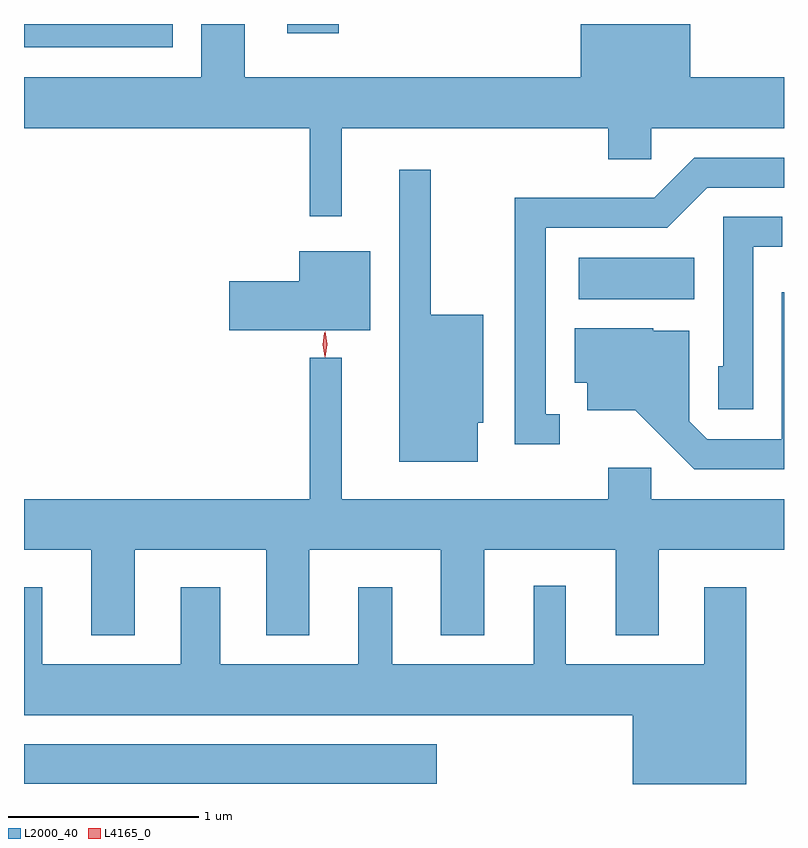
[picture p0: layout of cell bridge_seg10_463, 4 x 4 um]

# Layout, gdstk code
import gdstk
lib = gdstk.Library(unit=1e-6, precision=1e-09)
def R(c, l, rs):  # rectangles x0, y0, x1, y1
    for r in rs: c.add(gdstk.rectangle(r[:2], r[2:], *l))
def P(c, l, *ps):  # polygons
    for p in ps: c.add(gdstk.Polygon(p, *l))
L2000_40 = (2000, 40)
L4165_0 = (4165, 0)

bridge_seg10_463 = lib.new_cell('bridge_seg10_463')
R(bridge_seg10_463, L2000_40, [(1038.207,2157.086,1040.379,2157.294), (1041.126,2159.636,1041.734,2159.854), (1038.207,2160.961,1038.989,2161.084), (1039.593,2161.036,1039.864,2161.084)])
P(bridge_seg10_463, L2000_40, [(1039.879,2160.536),(1041.281,2160.536),(1041.281,2160.371),(1041.509,2160.371),(1041.509,2160.536),(1042.207,2160.536),(1042.207,2160.804),(1041.714,2160.804),(1041.714,2161.084),(1041.136,2161.084),(1041.136,2160.804),(1039.369,2160.804),(1039.369,2161.084),(1039.141,2161.084),(1039.141,2160.804),(1038.207,2160.804),(1038.207,2160.536),(1039.711,2160.536),(1039.711,2160.073),(1039.879,2160.073)],
  [(1041.027,2159.029),(1040.954,2159.029),(1040.954,2160.011),(1041.592,2160.011),(1041.802,2160.221),(1042.207,2160.221),(1042.207,2160.379),(1041.734,2160.379),(1041.524,2160.169),(1040.791,2160.169),(1040.791,2158.871),(1041.027,2158.871)],
  [(1040.594,2158.986),(1040.624,2158.986),(1040.624,2159.554),(1040.349,2159.554),(1040.349,2160.318),(1040.181,2160.318),(1040.181,2158.781),(1040.594,2158.781)],
  [(1042.044,2159.911),(1042.198,2159.911),(1042.198,2160.069),(1041.886,2160.069),(1041.886,2159.284),(1041.861,2159.284),(1041.861,2159.056),(1042.044,2159.056)],
  [(1040.029,2159.889),(1039.656,2159.889),(1039.656,2159.729),(1039.286,2159.729),(1039.286,2159.471),(1040.029,2159.471)],
  [(1042.207,2159.673),(1042.196,2159.673),(1042.196,2158.899),(1041.802,2158.899),(1041.709,2158.992),(1041.709,2159.469),(1041.52,2159.469),(1041.52,2159.484),(1041.106,2159.484),(1041.106,2159.196),(1041.171,2159.196),(1041.171,2159.051),(1041.424,2159.051),(1041.734,2158.741),(1042.207,2158.741)],
  [(1038.789,2158.316),(1039.481,2158.316),(1039.481,2157.866),(1039.709,2157.866),(1039.709,2158.316),(1040.401,2158.316),(1040.401,2157.866),(1040.629,2157.866),(1040.629,2158.316),(1041.321,2158.316),(1041.321,2157.866),(1041.549,2157.866),(1041.549,2158.316),(1042.207,2158.316),(1042.207,2158.584),(1041.509,2158.584),(1041.509,2158.749),(1041.281,2158.749),(1041.281,2158.584),(1039.879,2158.584),(1039.879,2159.328),(1039.711,2159.328),(1039.711,2158.584),(1038.207,2158.584),(1038.207,2158.316),(1038.561,2158.316),(1038.561,2157.866),(1038.789,2157.866)],
  [(1042.009,2158.119),(1041.786,2158.119),(1041.786,2157.714),(1041.059,2157.714),(1041.059,2158.128),(1040.891,2158.128),(1040.891,2157.714),(1040.144,2157.714),(1040.144,2158.119),(1039.966,2158.119),(1039.966,2157.714),(1039.239,2157.714),(1039.239,2158.119),(1039.031,2158.119),(1039.031,2157.714),(1038.304,2157.714),(1038.304,2158.119),(1038.207,2158.119),(1038.207,2157.446),(1041.411,2157.446),(1041.411,2157.084),(1042.009,2157.084)])
P(bridge_seg10_463, L4165_0, [(1039.792,2159.33),(1039.792,2159.33),(1039.782,2159.398),(1039.792,2159.466),(1039.792,2159.466),(1039.793,2159.466),(1039.802,2159.398),(1039.793,2159.33)],
  [(1039.789,2159.333),(1039.789,2159.334),(1039.779,2159.396),(1039.788,2159.459),(1039.789,2159.46),(1039.789,2159.459),(1039.799,2159.396),(1039.79,2159.334)])

lib.write_gds('bridge_seg10_463.gds')
